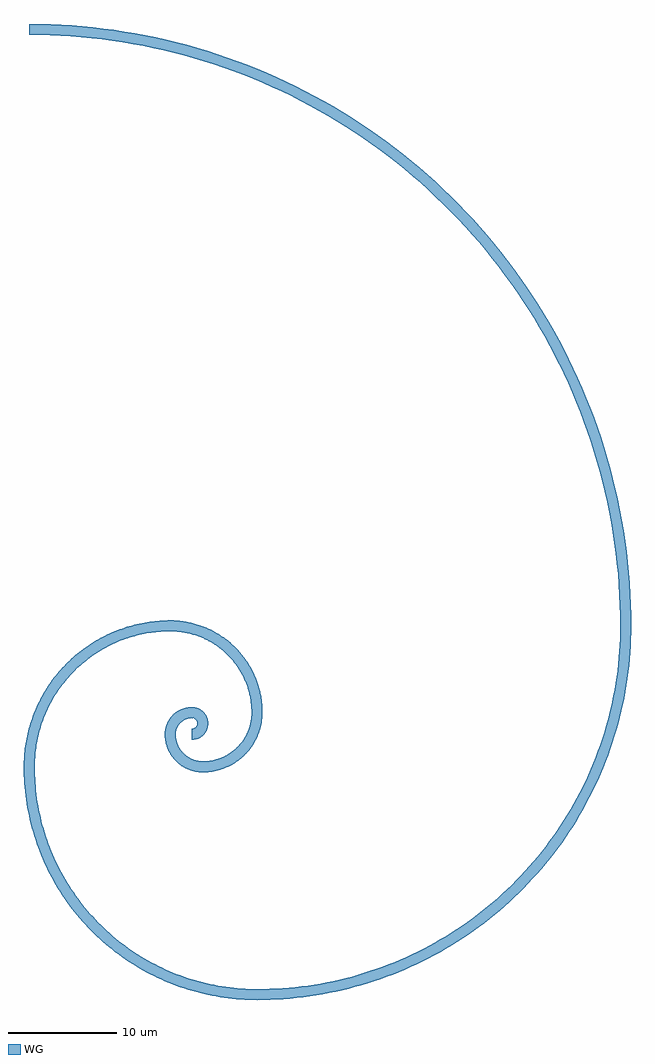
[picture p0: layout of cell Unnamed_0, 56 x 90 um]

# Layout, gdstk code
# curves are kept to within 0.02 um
from math import pi, radians
import gdstk
lib = gdstk.Library(unit=1e-6, precision=1e-09)
def P(c, l, *ps):  # polygons
    for p in ps: c.add(gdstk.Polygon(p, *l))
WG = (1, 0)

dbend_circular_w1_r1_lwg = lib.new_cell('dbend_circular_W1_R1_LWG_ENone_A90_AS1')
P(dbend_circular_w1_r1_lwg, WG, [(0,-0.5),(0,0.5),(0.189,0.537),(0.338,0.631),(0.456,0.794),(0.5,1),(1.5,1),(1.472,0.711),(1.388,0.432),(1.253,0.175),(1.07,-0.051),(0.869,-0.223),(0.592,-0.378),(0.289,-0.472)])

dbend_circular_w1_r2_lwg = lib.new_cell('dbend_circular_W1_R2_LWG_ENone_A90_AS1')
P(dbend_circular_w1_r2_lwg, WG, [(0,-0.5),(0,0.5),(0.289,0.528),(0.568,0.612),(0.825,0.747),(1.051,0.93),(1.223,1.131),(1.378,1.408),(1.472,1.711),(1.5,2),(2.5,2),(2.453,1.518),(2.314,1.053),(2.088,0.625),(1.783,0.248),(1.375,-0.088),(0.947,-0.314),(0.482,-0.453)])

dbend_circular_w1_r3_lwg = lib.new_cell('dbend_circular_W1_R3_LWG_ENone_A90_AS1')
P(dbend_circular_w1_r3_lwg, WG, [(0,-0.5),(0,0.5),(0.482,0.547),(0.947,0.686),(1.375,0.912),(1.752,1.217),(2.088,1.625),(2.314,2.053),(2.453,2.518),(2.5,3),(3.5,3),(3.422,2.264),(3.216,1.618),(2.889,1.024),(2.497,0.547),(1.976,0.111),(1.382,-0.216),(0.736,-0.422)])

dbend_circular_w1_r5_lwg = lib.new_cell('dbend_circular_W1_R5_LWG_ENone_A90_AS1')
P(dbend_circular_w1_r5_lwg, WG, [(0,-0.5),(0,0.5),(0.79,0.57),(1.556,0.777),(2.273,1.116),(2.859,1.525),(3.21,1.846),(3.525,2.203),(3.801,2.591),(4.069,3.078),(4.223,3.444),(4.382,3.977),(4.466,4.445),(4.5,5),(5.5,5),(5.479,4.515),(5.397,3.939),(5.282,3.467),(5.091,2.918),(4.842,2.391),(4.593,1.975),(4.248,1.506),(3.923,1.145),(3.494,0.752),(3.106,0.461),(2.609,0.158),(2.082,-0.091),(1.533,-0.282),(1.061,-0.397),(0.485,-0.479)])

dbend_circular_w1_r8_lwg = lib.new_cell('dbend_circular_W1_R8_LWG_ENone_A90_AS1')
P(dbend_circular_w1_r8_lwg, WG, [(0,-0.5),(0,0.5),(0.661,0.529),(1.447,0.641),(2.217,0.835),(2.84,1.058),(3.557,1.397),(4.125,1.737),(4.661,2.124),(5.256,2.65),(5.707,3.134),(6.19,3.765),(6.603,4.443),(6.942,5.16),(7.165,5.783),(7.359,6.553),(7.471,7.339),(7.5,8),(8.5,8),(8.467,7.251),(8.34,6.36),(8.163,5.631),(7.867,4.782),(7.483,3.968),(7.099,3.325),(6.565,2.6),(6.063,2.043),(5.4,1.435),(4.675,0.901),(4.032,0.517),(3.218,0.133),(2.369,-0.163),(1.64,-0.34),(0.749,-0.467)])

dbend_circular_w1_r13_lw = lib.new_cell('dbend_circular_W1_R13_LWG_ENone_A90_AS1')
P(dbend_circular_w1_r13_lw, WG, [(0,-0.5),(0,0.5),(1.321,0.57),(2.412,0.735),(3.694,1.058),(4.733,1.431),(5.734,1.893),(6.876,2.561),(7.941,3.346),(8.76,4.084),(9.654,5.059),(10.316,5.941),(10.898,6.878),(11.484,8.064),(11.942,9.306),(12.221,10.372),(12.43,11.679),(12.5,13),(13.5,13),(13.424,11.573),(13.246,10.395),(12.897,9.01),(12.495,7.889),(11.885,6.597),(11.274,5.574),(10.426,4.424),(9.63,3.539),(8.576,2.574),(7.624,1.859),(6.612,1.23),(5.331,0.597),(3.99,0.103),(2.605,-0.246),(1.427,-0.424)])

dbend_circular_w1_r21_lw = lib.new_cell('dbend_circular_W1_R21_LWG_ENone_A90_AS1')
P(dbend_circular_w1_r21_lw, WG, [(0,-0.5),(0,0.5),(1.446,0.551),(2.526,0.656),(3.599,0.818),(4.662,1.037),(5.712,1.312),(6.746,1.642),(7.761,2.026),(8.755,2.463),(10.354,3.307),(11.873,4.288),(13.3,5.4),(14.367,6.377),(15.6,7.7),(16.712,9.127),(17.693,10.646),(18.379,11.92),(18.834,12.905),(19.236,13.913),(19.584,14.941),(19.963,16.338),(20.182,17.401),(20.344,18.474),(20.449,19.554),(20.5,21),(21.5,21),(21.47,19.862),(21.38,18.727),(21.096,16.852),(20.847,15.741),(20.539,14.645),(19.9,12.86),(19.441,11.818),(18.928,10.802),(17.955,9.174),(17.304,8.24),(16.605,7.342),(15.859,6.483),(15.336,5.932),(14.517,5.141),(13.658,4.395),(12.141,3.256),(11.185,2.639),(10.198,2.072),(9.182,1.559),(8.14,1.1),(6.355,0.461),(5.259,0.153),(4.148,-0.096),(2.273,-0.38),(1.138,-0.47)])

dbend_circular_w1_r34_lw = lib.new_cell('dbend_circular_W1_R34_LWG_ENone_A90_AS1')
P(dbend_circular_w1_r34_lw, WG, [(0,-0.5),(0,0.5),(1.773,0.547),(3.541,0.688),(5.299,0.922),(7.042,1.249),(8.766,1.667),(10.464,2.176),(12.134,2.775),(13.77,3.461),(15.367,4.232),(16.407,4.793),(17.428,5.39),(18.918,6.353),(19.882,7.038),(21.281,8.128),(22.181,8.895),(23.478,10.104),(24.307,10.947),(25.493,12.266),(26.244,13.179),(27.309,14.597),(27.977,15.573),(28.913,17.08),(29.768,18.633),(30.292,19.694),(31.006,21.317),(31.634,22.976),(32.173,24.665),(32.622,26.381),(32.98,28.118),(33.245,29.872),(33.417,31.637),(33.479,32.818),(33.5,34),(34.5,34),(34.479,32.782),(34.366,30.959),(34.157,29.145),(33.852,27.344),(33.452,25.562),(32.959,23.803),(32.373,22.073),(31.932,20.938),(31.196,19.267),(30.372,17.636),(29.464,16.052),(28.812,15.023),(27.767,13.525),(26.645,12.084),(25.855,11.157),(24.61,9.821),(23.741,8.968),(22.383,7.746),(20.962,6.598),(19.482,5.527),(17.948,4.536),(16.364,3.628),(14.733,2.804),(13.062,2.068),(11.927,1.627),(10.197,1.041),(8.438,0.548),(6.656,0.148),(4.855,-0.157),(3.041,-0.366),(1.218,-0.479)])

dbend_circular_w1_r55_lw = lib.new_cell('dbend_circular_W1_R55_LWG_ENone_A90_AS1')
P(dbend_circular_w1_r55_lw, WG, [(0,-0.5),(0,0.5),(2.884,0.576),(5.761,0.805),(8.621,1.186),(11.457,1.718),(14.26,2.399),(17.024,3.227),(18.841,3.86),(21.521,4.929),(24.141,6.138),(26.693,7.484),(28.353,8.456),(30.777,10.022),(33.114,11.713),(34.621,12.909),(36.085,14.157),(38.196,16.124),(40.2,18.2),(41.473,19.642),(43.287,21.886),(44.428,23.434),(46.036,25.83),(47.516,28.307),(48.862,30.859),(49.683,32.599),(50.799,35.26),(51.773,37.976),(52.601,40.74),(53.282,43.543),(53.814,46.379),(54.195,49.239),(54.424,52.116),(54.5,55),(55.5,55),(55.422,52.063),(55.284,50.109),(54.948,47.19),(54.457,44.293),(53.814,41.426),(53.021,38.597),(52.409,36.736),(51.369,33.988),(50.595,32.188),(49.317,29.542),(47.9,26.968),(46.35,24.472),(44.669,22.062),(43.479,20.506),(41.592,18.253),(39.589,16.103),(37.475,14.063),(35.256,12.137),(33.721,10.919),(31.341,9.196),(29.705,8.119),(27.183,6.612),(24.584,5.242),(21.916,4.01),(19.187,2.922),(16.403,1.979),(14.522,1.434),(11.667,0.74),(8.779,0.199),(5.866,-0.189),(2.937,-0.422)])

unnamed_0 = lib.new_cell('Unnamed_0')
unnamed_0.add(gdstk.Reference(dbend_circular_w1_r1_lwg, (0,0)))
unnamed_0.add(gdstk.Reference(dbend_circular_w1_r1_lwg, (1,1), rotation=pi/2))
unnamed_0.add(gdstk.Reference(dbend_circular_w1_r2_lwg, (0,2), rotation=pi))
unnamed_0.add(gdstk.Reference(dbend_circular_w1_r3_lwg, (-2,0), rotation=3*pi/2))
unnamed_0.add(gdstk.Reference(dbend_circular_w1_r5_lwg, (1,-3)))
unnamed_0.add(gdstk.Reference(dbend_circular_w1_r8_lwg, (6,2), rotation=pi/2))
unnamed_0.add(gdstk.Reference(dbend_circular_w1_r13_lw, (-2,10), rotation=pi))
unnamed_0.add(gdstk.Reference(dbend_circular_w1_r21_lw, (-15,-3), rotation=3*pi/2))
unnamed_0.add(gdstk.Reference(dbend_circular_w1_r34_lw, (6,-24)))
unnamed_0.add(gdstk.Reference(dbend_circular_w1_r55_lw, (40,10), rotation=pi/2))

lib.write_gds('Unnamed_0.gds')
